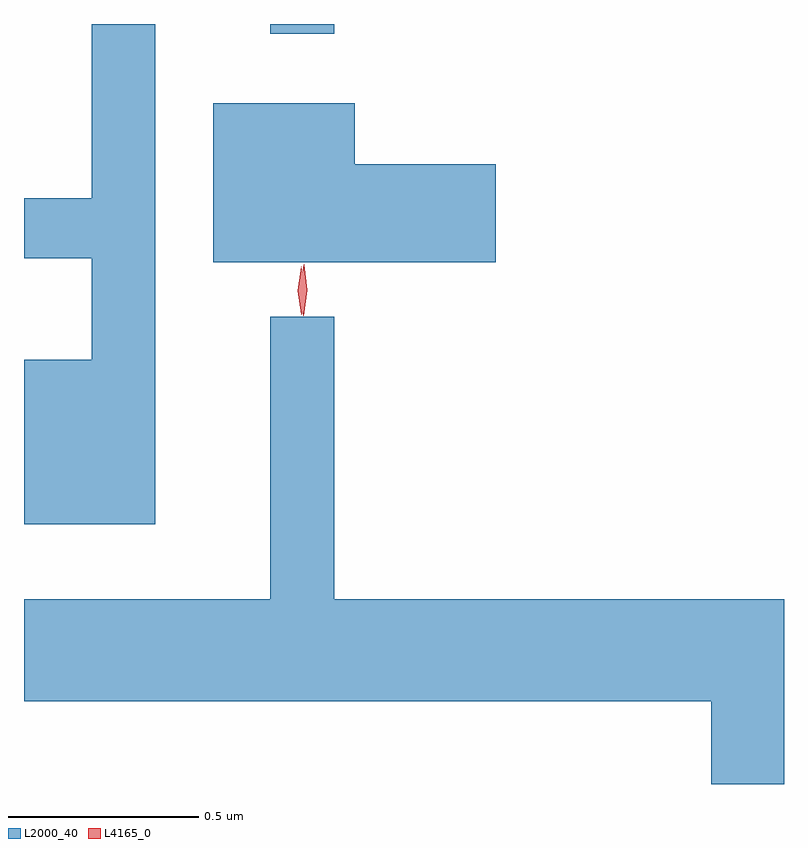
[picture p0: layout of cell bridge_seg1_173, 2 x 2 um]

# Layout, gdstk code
import gdstk
lib = gdstk.Library(unit=1e-6, precision=1e-09)
def R(c, l, rs):  # rectangles x0, y0, x1, y1
    for r in rs: c.add(gdstk.rectangle(r[:2], r[2:], *l))
def P(c, l, *ps):  # polygons
    for p in ps: c.add(gdstk.Polygon(p, *l))
L2000_40 = (2000, 40)
L4165_0 = (4165, 0)

bridge_seg1_173 = lib.new_cell('bridge_seg1_173')
R(bridge_seg1_173, L2000_40, [(731.421,939.073,731.589,939.098)])
P(bridge_seg1_173, L2000_40, [(731.119,939.098),(730.951,939.098),(730.951,938.639),(730.773,938.639),(730.773,938.481),(730.951,938.481),(730.951,938.214),(730.773,938.214),(730.773,937.781),(731.119,937.781)],
  [(732.014,938.729),(731.644,938.729),(731.644,938.889),(731.271,938.889),(731.271,938.471),(732.014,938.471)],
  [(731.589,938.328),(731.421,938.328),(731.421,937.584),(730.773,937.584),(730.773,937.316),(732.581,937.316),(732.581,937.098),(732.773,937.098),(732.773,937.584),(731.589,937.584)])
P(bridge_seg1_173, L4165_0, [(731.503,938.333),(731.502,938.334),(731.493,938.396),(731.502,938.459),(731.502,938.46),(731.503,938.459),(731.513,938.396),(731.504,938.334)],
  [(731.508,938.33),(731.508,938.33),(731.499,938.398),(731.509,938.465),(731.51,938.466),(731.51,938.465),(731.519,938.398),(731.509,938.33)])

lib.write_gds('bridge_seg1_173.gds')
